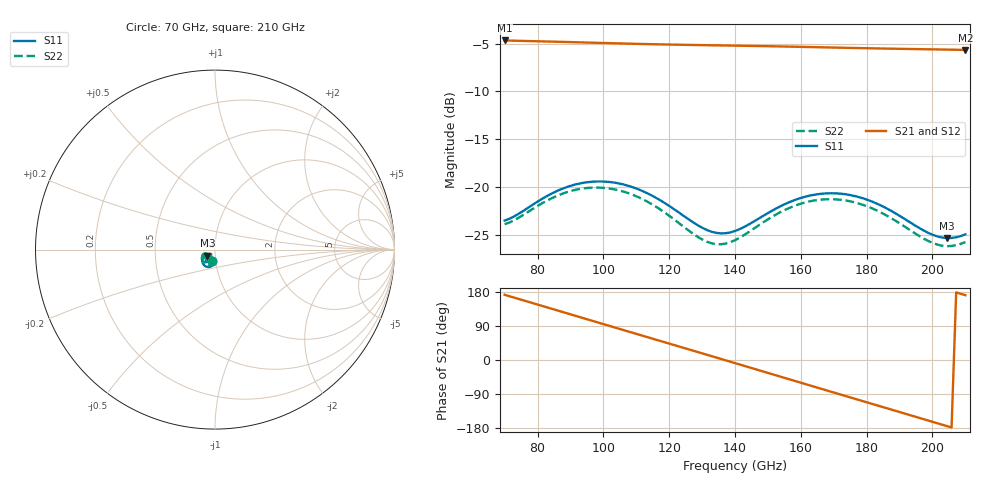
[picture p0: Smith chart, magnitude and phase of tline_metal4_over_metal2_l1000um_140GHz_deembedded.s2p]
! Created with skrf 2.0.1 (http://scikit-rf.org).
# GHz S DB R 50.0
!freq dBS11 angS11 dBS21 angS21 dBS12 angS12 dBS22 angS22
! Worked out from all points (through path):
!   101 points, 70 GHz to 210 GHz, reference 50 ohm
!   highest |S21| = -4.67 dB at 70 GHz (marker M1); lowest = -5.7 dB at 210 GHz (marker M2)
!   group delay of S21, straight-line fit = 7.16 ps
!   lowest |S11| = -25.4 dB at 204.4 GHz (marker M3), VSWR 1.11, Z = 45.9 - j3.13 ohm
!   |S11| at or under -10 dB: start of sweep to end of sweep
!   |S22| runs from -26.2 to -20.1 dB; largest |S21 - S12| = 6.6e-14
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70  -23.53 -104.3  -4.67 172.1  -4.67 172.1  -23.92 -105.3
81.2  -21.30 -99.0  -4.77 143.3  -4.77 143.3  -21.76 -100.7
88.2  -20.11 -105.3  -4.83 125.2  -4.83 125.2  -20.64 -107.5
93.8  -19.58 -112.7  -4.88 110.7  -4.88 110.7  -20.17 -115.3
99.4  -19.44 -120.9  -4.93 96.3  -4.93 96.3  -20.09 -123.8
105  -19.67 -128.9  -4.98 81.9  -4.98 81.9  -20.40 -132.2
110.6  -20.25 -136.2  -5.03 67.5  -5.03 67.5  -21.08 -139.8
117.6  -21.47 -142.9  -5.09 49.5  -5.09 49.5  -22.44 -146.6
124.6  -23.09 -144.7  -5.13 31.5  -5.13 31.5  -24.23 -147.9
131.6  -24.54 -138.9  -5.17 13.5  -5.17 13.5  -25.77 -140.6
135.8  -24.88 -132.3  -5.19 2.7  -5.19 2.7  -26.01 -133.0
140  -24.63 -125.8  -5.22 -8.2  -5.22 -8.2  -25.59 -126.1
151.2  -22.51 -120.3  -5.28 -37.2  -5.28 -37.2  -23.15 -122.0
158.2  -21.38 -124.7  -5.33 -55.3  -5.33 -55.3  -21.98 -127.5
163.8  -20.85 -130.3  -5.37 -69.8  -5.37 -69.8  -21.45 -134.0
169.4  -20.67 -136.7  -5.41 -84.2  -5.41 -84.2  -21.30 -141.1
175  -20.86 -143.2  -5.45 -98.7  -5.45 -98.7  -21.52 -148.1
180.6  -21.41 -148.8  -5.49 -113.1  -5.49 -113.1  -22.10 -154.3
187.6  -22.55 -153.4  -5.54 -131.1  -5.54 -131.1  -23.31 -159.4
196  -24.31 -152.1  -5.58 -152.8  -5.58 -152.8  -25.15 -158.3
204.4  -25.37 -140.9  -5.63 -174.5  -5.63 -174.5  -26.21 -147.1
210  -24.98 -132.3  -5.66 171.1  -5.66 171.1  -25.78 -138.7
